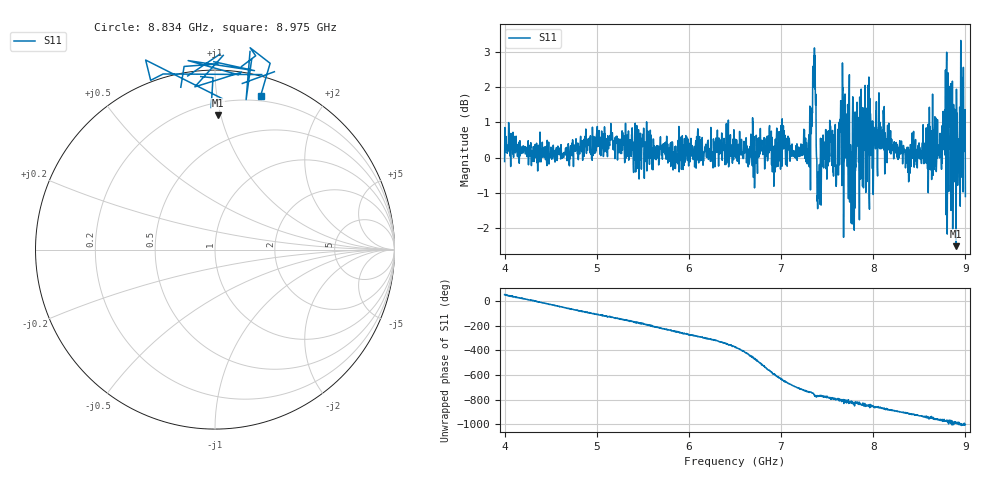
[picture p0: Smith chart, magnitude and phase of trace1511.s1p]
! Created with skrf 1.8.0 (http://scikit-rf.org).
# Hz S RI R 50.0
!freq ReS11 ImS11
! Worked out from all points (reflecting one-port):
!   1601 points, 4 GHz to 9 GHz, reference 50 ohm
!   lowest |S11| = -2.5 dB at 8.9 GHz (marker M1), VSWR 6.97, Z = 14.4 + j49.1 ohm
!   phase of S11 starts at 51 deg and turns -1051 deg over the sweep
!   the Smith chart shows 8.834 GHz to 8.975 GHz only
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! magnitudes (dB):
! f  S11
! 4 GHz  -0.1
! 4.625 GHz  0.0
! 5.25 GHz  0.2
! 5.875 GHz  0.1
! 6.5 GHz  0.3
! 6.725 GHz  0.2
! 6.875 GHz  0.9
! 6.922 GHz  -0.8
! 7.038 GHz  0.5
! 7.125 GHz  0.2
! 7.294 GHz  0.1
! 7.353 GHz  2.4
! 7.412 GHz  -0.6
! 7.516 GHz  0.6
! 7.609 GHz  -0.2
! 7.65 GHz  1.3
! 7.716 GHz  0.6
! 7.75 GHz  0.2
! 7.788 GHz  -0.6
! 7.891 GHz  0.5
! 7.981 GHz  0.2
! 8.088 GHz  0.3
! 8.375 GHz  0.1
! 8.725 GHz  0.7
! 8.772 GHz  0.4
! 8.9 GHz  -2.5
! 8.972 GHz  0.7
! 9 GHz  -1.1
